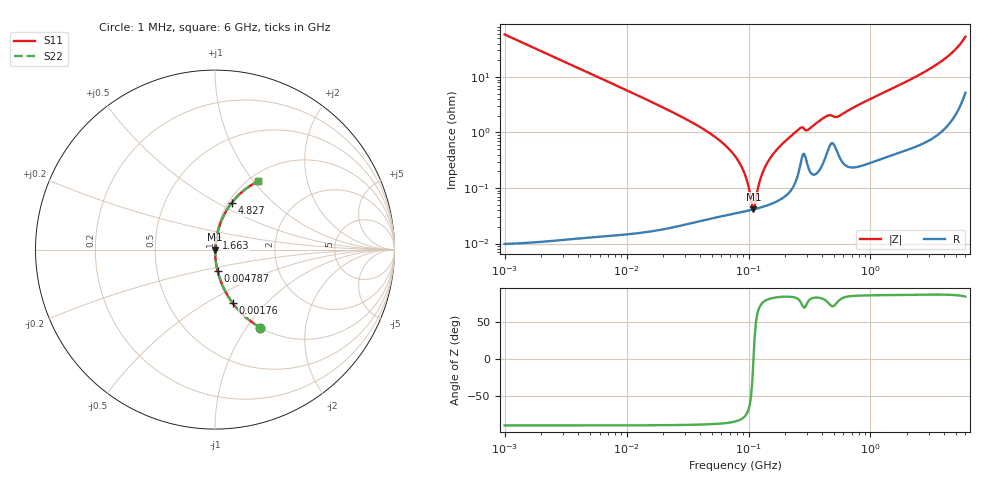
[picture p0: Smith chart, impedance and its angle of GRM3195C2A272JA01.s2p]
!Murata Part Number: GRM3195C2A272JA01
!These Parameters are Measured in Series Mode Connection
!Data Generated on Mar 30, 2021
!  o--ll--o
!Port1  Port2
!  o------o
!Operation Temp=25[degC], DC Bias Voltage=0[V]
!Freq. Start=1000[kHz] Stop=6[GHz] 401[Steps]
# Hz S RI R 50
!Freq.(Hz) S11(Real) S11(Imag) S21(Real) S21(Imag) S12(Real) S12(Imag) S22(Real) S22(Imag)
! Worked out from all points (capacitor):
!   401 points, 1 MHz to 6 GHz, reference 50 ohm
!   read as one part in series: C = 2.73 nF near 1.044 MHz
!   lowest |Z| = 41.2 mohm at 109.7 MHz (marker M1)
!   series resonance near 109.8 MHz, so ESL is about 770 pH
!   S11 on the Smith chart (normalised r, x): 1 MHz: 1.00, -1.16; 1.76 MHz: 1.00, -0.66; 4.787 MHz: 1.00, -0.24; 1.663 GHz: 1.01, +0.14; 4.827 GHz: 1.04, +0.59; 6 GHz: 1.10, +1.06
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1000000  0.2531 -0.4347  0.7469 0.4347  0.7469 0.4347  0.2531 -0.4347
1760272  0.0986 -0.298  0.9014 0.298  0.9014 0.298  0.0986 -0.298
4293785  0.0181 -0.1329  0.9819 0.1329  0.9819 0.1329  0.0181 -0.1329
4787042  0.0146 -0.1196  0.9854 0.1196  0.9854 0.1196  0.0146 -0.1196
1.843659e7  0.00111 -0.0306  0.9989 0.0306  0.9989 0.0306  0.00111 -0.0306
4.697123e7  0.000376 -0.0101  0.9996 0.0101  0.9996 0.0101  0.000376 -0.0101
7.745967e7  0.000362 -0.00375  0.9996 0.00375  0.9996 0.00375  0.000362 -0.00375
9.218041e7  0.00038 -0.00185  0.9996 0.00185  0.9996 0.00185  0.00038 -0.00185
1.050294e8  0.000403 -0.000469  0.9996 0.000469  0.9996 0.000469  0.000403 -0.000469
1.096987e8  0.000412 -9.4e-06  0.9996 9.4e-06  0.9996 9.4e-06  0.000412 -9.4e-06
1.145757e8  0.000422 0.00045  0.9996 -0.00045  0.9996 -0.00045  0.000422 0.00045
1.305463e8  0.000461 0.00184  0.9995 -0.00184  0.9995 -0.00184  0.000461 0.00184
1.587717e8  0.000549 0.00403  0.9995 -0.00403  0.9995 -0.00403  0.000549 0.00403
2.618284e8  0.00236 0.0115  0.9976 -0.0115  0.9976 -0.0115  0.00236 0.0115
3.325952e8  0.00193 0.0127  0.9981 -0.0127  0.9981 -0.0127  0.00193 0.0127
4.31778e8  0.00416 0.019  0.9958 -0.019  0.9958 -0.019  0.00416 0.019
5.484786e8  0.00422 0.0191  0.9958 -0.0191  0.9958 -0.0191  0.00422 0.0191
1.428092e9  0.0071 0.0577  0.9929 -0.0577  0.9929 -0.0577  0.0071 0.0577
1.66293e9  0.00882 0.0677  0.9912 -0.0677  0.9912 -0.0677  0.00882 0.0677
3.193267e9  0.0285 0.1425  0.9715 -0.1425  0.9715 -0.1425  0.0285 0.1425
4.827224e9  0.0933 0.2607  0.9067 -0.2607  0.9067 -0.2607  0.0933 0.2607
6e9  0.2406 0.381  0.7594 -0.381  0.7594 -0.381  0.2406 0.381
